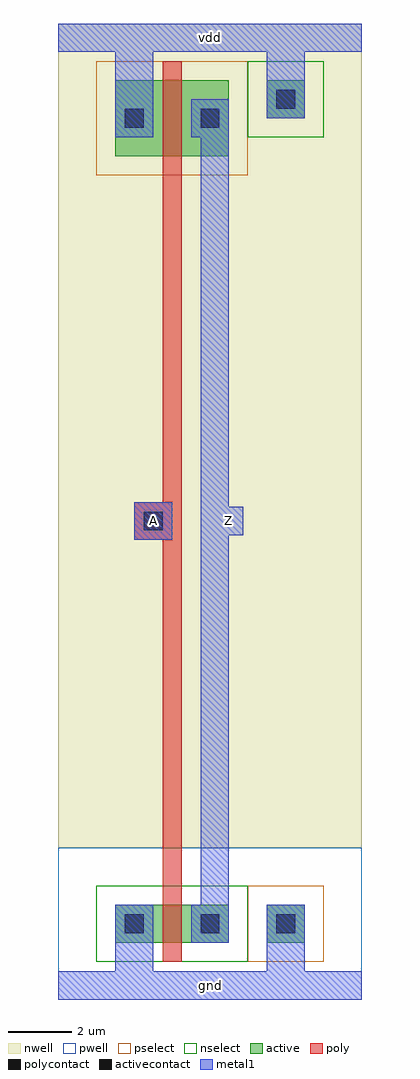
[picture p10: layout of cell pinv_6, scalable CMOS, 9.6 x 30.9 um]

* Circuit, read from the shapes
.subckt pinv_6 A Z gnd vdd
M1 Z A gnd gnd nfet w=1.2u l=0.6u
M2 Z A vdd vdd pfet w=2.4u l=0.6u
.ends

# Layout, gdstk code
import gdstk
lib = gdstk.Library(unit=1e-6, precision=1e-09)
def R(c, l, rs):  # rectangles x0, y0, x1, y1
    for r in rs: c.add(gdstk.rectangle(r[:2], r[2:], *l))
pwell = (41, 0)
nwell = (42, 0)
active = (43, 0)
pselect = (44, 0)
nselect = (45, 0)
poly = (46, 0)
polycontact = (47, 0)
activecontact = (48, 0)
metal1 = (49, 0)

active_contact_metal1_1x = lib.new_cell('active_contact_metal1_1x1_pn')
R(active_contact_metal1_1x, nwell, [(-1.8,-1.8,3,3)])
R(active_contact_metal1_1x, active, [(0,0,1.2,1.2)])
R(active_contact_metal1_1x, pselect, [(-0.6,-0.6,1.8,1.8)])
R(active_contact_metal1_1x, activecontact, [(0.3,0.3,0.9,0.9)])
R(active_contact_metal1_1x, metal1, [(0,0,1.2,1.2)])

pmos_m1_w2_4_a_p = lib.new_cell('pmos_m1_w2_4_a_p')
R(pmos_m1_w2_4_a_p, nwell, [(-1.8,-1.8,5.4,4.2)])
R(pmos_m1_w2_4_a_p, active, [(0,0,3.6,2.4)])
R(pmos_m1_w2_4_a_p, pselect, [(-0.6,-0.6,4.2,3)])
R(pmos_m1_w2_4_a_p, poly, [(1.5,-0.6,2.1,3), (1.5,-0.6,2.1,3)])
R(pmos_m1_w2_4_a_p, metal1, [(0,0.6,1.2,1.8), (2.4,0.6,3.6,1.8)])
pmos_m1_w2_4_a_p.add(gdstk.Reference(active_contact_metal1_1x, (0,0.6)))
pmos_m1_w2_4_a_p.add(gdstk.Reference(active_contact_metal1_1x, (2.4,0.6)))
pmos_m1_w2_4_a_p.add(gdstk.Label('G', (1.8,1.2), layer=46, texttype=0))
pmos_m1_w2_4_a_p.add(gdstk.Label('S', (0.6,1.2), layer=49, texttype=0))
pmos_m1_w2_4_a_p.add(gdstk.Label('D', (3,1.2), layer=49, texttype=0))

c_active_contact_metal1_1x = lib.new_cell('active_contact_metal1_1x1_np')
R(c_active_contact_metal1_1x, pwell, [(-1.8,-1.8,3,3)])
R(c_active_contact_metal1_1x, active, [(0,0,1.2,1.2)])
R(c_active_contact_metal1_1x, nselect, [(-0.6,-0.6,1.8,1.8)])
R(c_active_contact_metal1_1x, activecontact, [(0.3,0.3,0.9,0.9)])
R(c_active_contact_metal1_1x, metal1, [(0,0,1.2,1.2)])

nmos_m1_w1_2_a_p = lib.new_cell('nmos_m1_w1_2_a_p')
R(nmos_m1_w1_2_a_p, pwell, [(-1.8,-1.8,5.4,3)])
R(nmos_m1_w1_2_a_p, active, [(0,0,3.6,1.2)])
R(nmos_m1_w1_2_a_p, nselect, [(-0.6,-0.6,4.2,1.8)])
R(nmos_m1_w1_2_a_p, poly, [(1.5,-0.6,2.1,1.8), (1.5,-0.6,2.1,1.8)])
R(nmos_m1_w1_2_a_p, metal1, [(0,0,1.2,1.2), (2.4,0,3.6,1.2)])
nmos_m1_w1_2_a_p.add(gdstk.Reference(c_active_contact_metal1_1x, (0,0)))
nmos_m1_w1_2_a_p.add(gdstk.Reference(c_active_contact_metal1_1x, (2.4,0)))
nmos_m1_w1_2_a_p.add(gdstk.Label('G', (1.8,0.6), layer=46, texttype=0))
nmos_m1_w1_2_a_p.add(gdstk.Label('S', (0.6,0.6), layer=49, texttype=0))
nmos_m1_w1_2_a_p.add(gdstk.Label('D', (3,0.6), layer=49, texttype=0))

c_active_contact_metal1_1x_ = lib.new_cell('active_contact_metal1_1x1_nn')
R(c_active_contact_metal1_1x_, nwell, [(-1.8,-1.8,3,3)])
R(c_active_contact_metal1_1x_, active, [(0,0,1.2,1.2)])
R(c_active_contact_metal1_1x_, nselect, [(-0.6,-0.6,1.8,1.8)])
R(c_active_contact_metal1_1x_, activecontact, [(0.3,0.3,0.9,0.9)])
R(c_active_contact_metal1_1x_, metal1, [(0,0,1.2,1.2)])

c_active_contact_metal1_1x__ = lib.new_cell('active_contact_metal1_1x1_pp')
R(c_active_contact_metal1_1x__, pwell, [(-1.8,-1.8,3,3)])
R(c_active_contact_metal1_1x__, active, [(0,0,1.2,1.2)])
R(c_active_contact_metal1_1x__, pselect, [(-0.6,-0.6,1.8,1.8)])
R(c_active_contact_metal1_1x__, activecontact, [(0.3,0.3,0.9,0.9)])
R(c_active_contact_metal1_1x__, metal1, [(0,0,1.2,1.2)])

poly_contact_metal1_1x1 = lib.new_cell('poly_contact_metal1_1x1')
R(poly_contact_metal1_1x1, poly, [(0,0,1.2,1.2)])
R(poly_contact_metal1_1x1, polycontact, [(0.3,0.3,0.9,0.9)])
R(poly_contact_metal1_1x1, metal1, [(0,0,1.2,1.2)])

pinv_6 = lib.new_cell('pinv_6')
R(pinv_6, pwell, [(0,-0.45,9.6,4.35)])
R(pinv_6, nwell, [(0,4.35,9.6,30.45)])
R(pinv_6, poly, [(3.3,0.75,3.9,25.65), (3,14.1,3.3,15.3)])
R(pinv_6, metal1, [(0,-0.45,9.6,0.45), (1.8,-0.45,3,1.35), (6.6,0,7.8,1.95), (4.5,1.35,5.4,26.85), (2.4,14.1,3.6,15.3), (4.95,14.25,5.85,15.15), (1.8,26.85,3,30.45), (6.6,28.05,7.8,30), (0,29.55,9.6,30.45)])
pinv_6.add(gdstk.Reference(pmos_m1_w2_4_a_p, (1.8,26.25)))
pinv_6.add(gdstk.Reference(nmos_m1_w1_2_a_p, (1.8,1.35)))
pinv_6.add(gdstk.Reference(c_active_contact_metal1_1x_, (6.6,27.45)))
pinv_6.add(gdstk.Reference(c_active_contact_metal1_1x__, (6.6,1.35)))
pinv_6.add(gdstk.Reference(poly_contact_metal1_1x1, (2.4,14.1)))
pinv_6.add(gdstk.Label('gnd', (4.8,0), layer=49, texttype=0))
pinv_6.add(gdstk.Label('vdd', (4.8,30), layer=49, texttype=0))
pinv_6.add(gdstk.Label('A', (3,14.7), layer=49, texttype=0))
pinv_6.add(gdstk.Label('Z', (5.4,14.7), layer=49, texttype=0))

lib.write_gds('pinv_6.gds')
